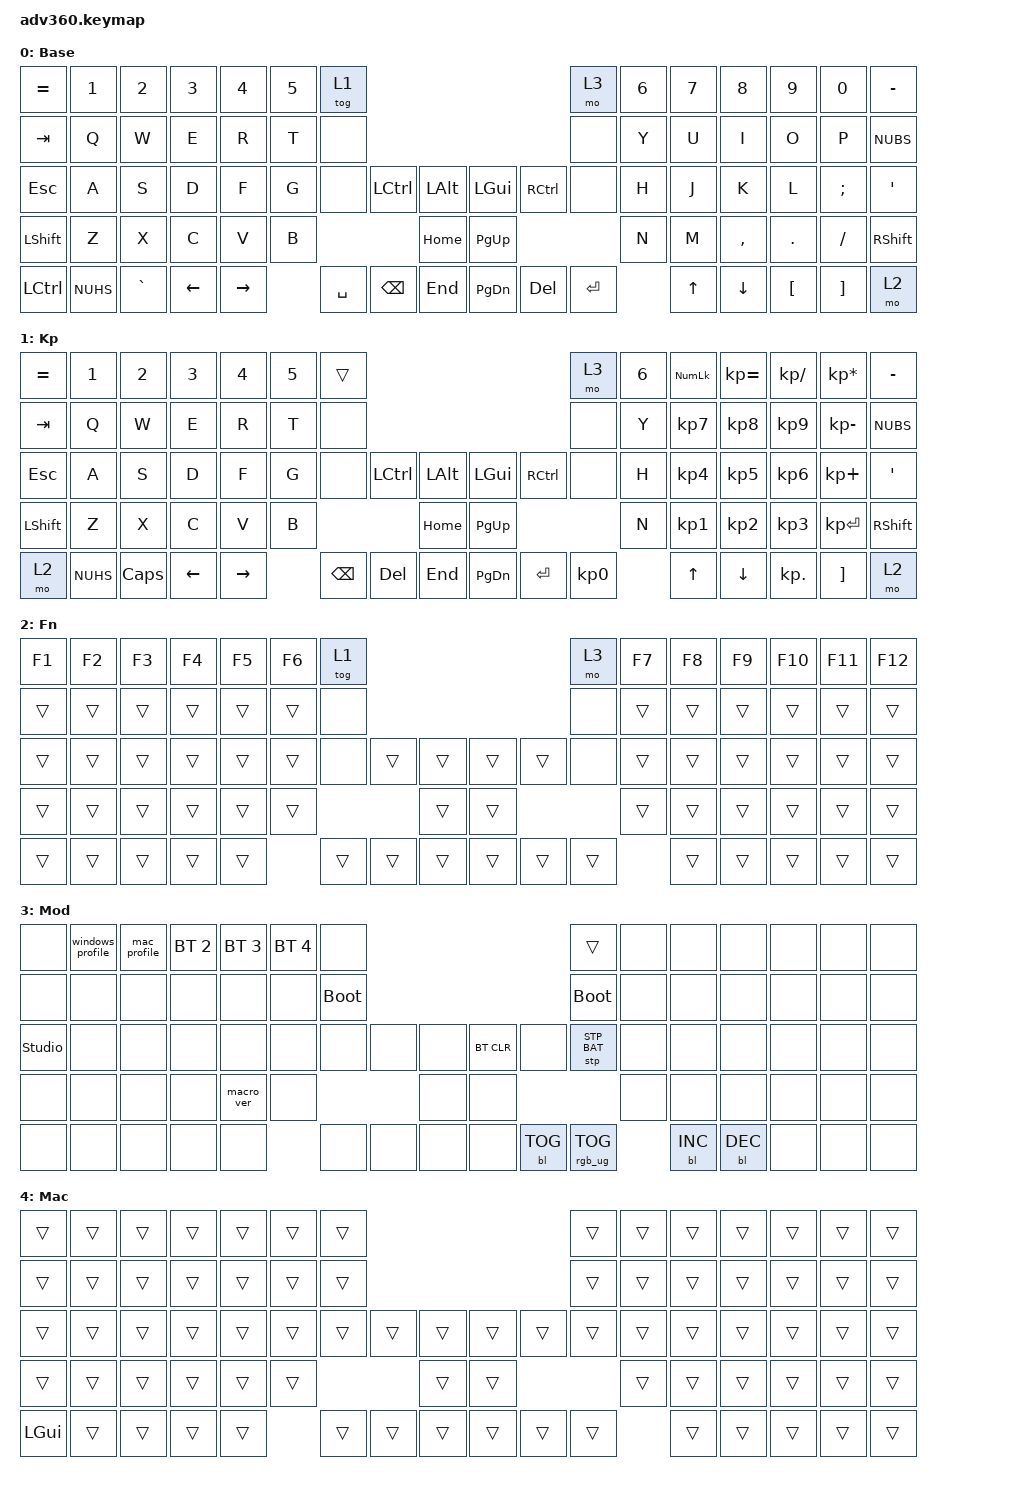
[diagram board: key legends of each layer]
#include <dt-bindings/zmk/stp.h>
#include <behaviors.dtsi>
#include <dt-bindings/zmk/backlight.h>
#include <dt-bindings/zmk/bt.h>
#include <dt-bindings/zmk/keys.h>
#include <dt-bindings/zmk/rgb.h>

/ {
    behaviors {
        #include "macros.dtsi"
      #include "version.dtsi"

        hm: homerow_mods {
            compatible = "zmk,behavior-hold-tap";
            label = "HOMEROW_MODS";
            #binding-cells = <2>;
            tapping-term-ms = <200>;
            quick_tap_ms = <175>;
            flavor = "tap-preferred";
            bindings = <&kp>, <&kp>;
        };

        mac_profile: mac_profile {
            compatible = "zmk,behavior-macro";
            label = "MAC_PROFILE";
            #binding-cells = <0>;
            bindings = <&bt BT_SEL 1>, <&to 4>;
        };

        windows_profile: windows_profile {
            compatible = "zmk,behavior-macro";
            label = "WINDOWS_PROFILE";
            #binding-cells = <0>;
            bindings = <&bt BT_SEL 0>, <&to 0>;
        };
    };

    keymap {
        compatible = "zmk,keymap";

        default_layer {
            display-name = "Base";
            bindings = <
&kp EQUAL         &kp N1    &kp N2     &kp N3    &kp N4     &kp N5  &tog 1                                                         &mo 3      &kp N6  &kp N7  &kp N8     &kp N9    &kp N0    &kp MINUS
&kp TAB           &kp Q     &kp W      &kp E     &kp R      &kp T   &none                                                          &none      &kp Y   &kp U   &kp I      &kp O     &kp P     &kp NUBS
&kp ESC           &kp A     &kp S      &kp D     &kp F      &kp G   &none      &kp LCTRL      &kp LALT      &kp LGUI   &kp RCTRL   &none      &kp H   &kp J   &kp K      &kp L     &kp SEMI  &kp SQT
&kp LSHFT         &kp Z     &kp X      &kp C     &kp V      &kp B                             &kp HOME      &kp PG_UP                         &kp N   &kp M   &kp COMMA  &kp DOT   &kp FSLH  &kp RSHFT
&kp LEFT_CONTROL  &kp NUHS  &kp GRAVE  &kp LEFT  &kp RIGHT          &kp SPACE  &kp BACKSPACE  &kp END       &kp PG_DN  &kp DELETE  &kp ENTER          &kp UP  &kp DOWN   &kp LBKT  &kp RBKT  &mo 2
            >;
        };

        keypad {
            display-name = "Kp";
            bindings = <
&kp EQUAL  &kp N1    &kp N2    &kp N3    &kp N4     &kp N5  &trans                                                   &mo 3      &kp N6  &kp KP_NUM  &kp KP_EQUAL  &kp KP_DIVIDE  &kp KP_MULTIPLY  &kp MINUS
&kp TAB    &kp Q     &kp W     &kp E     &kp R      &kp T   &none                                                    &none      &kp Y   &kp KP_N7   &kp KP_N8     &kp KP_N9      &kp KP_MINUS     &kp NUBS
&kp ESC    &kp A     &kp S     &kp D     &kp F      &kp G   &none     &kp LCTRL  &kp LALT      &kp LGUI   &kp RCTRL  &none      &kp H   &kp KP_N4   &kp KP_N5     &kp KP_N6      &kp KP_PLUS      &kp SQT
&kp LSHFT  &kp Z     &kp X     &kp C     &kp V      &kp B                        &kp HOME      &kp PG_UP                        &kp N   &kp KP_N1   &kp KP_N2     &kp KP_N3      &kp KP_ENTER     &kp RSHFT
&mo 2      &kp NUHS  &kp CAPS  &kp LEFT  &kp RIGHT          &kp BSPC  &kp DEL    &kp END       &kp PG_DN  &kp ENTER  &kp KP_N0          &kp UP      &kp DOWN      &kp KP_DOT     &kp RBKT         &mo 2
            >;
        };

        fn {
            display-name = "Fn";
            bindings = <
&kp F1  &kp F2  &kp F3  &kp F4  &kp F5  &kp F6  &tog 1                                      &mo 3   &kp F7  &kp F8  &kp F9  &kp F10  &kp F11  &kp F12
&trans  &trans  &trans  &trans  &trans  &trans  &none                                       &none   &trans  &trans  &trans  &trans   &trans   &trans
&trans  &trans  &trans  &trans  &trans  &trans  &none   &trans  &trans      &trans  &trans  &none   &trans  &trans  &trans  &trans   &trans   &trans
&trans  &trans  &trans  &trans  &trans  &trans                  &trans      &trans                  &trans  &trans  &trans  &trans   &trans   &trans
&trans  &trans  &trans  &trans  &trans          &trans  &trans  &trans      &trans  &trans  &trans          &trans  &trans  &trans   &trans   &trans
            >;
        };

        mod {
            display-name = "Mod";
            bindings = <
&none           &windows_profile  &mac_profile  &bt BT_SEL 2  &bt BT_SEL 3  &bt BT_SEL 4  &none                                              &trans           &none  &none       &none       &none  &none  &none
&none           &none         &none         &none         &none         &none         &bootloader                                            &bootloader      &none  &none       &none       &none  &none  &none
&studio_unlock  &none         &none         &none         &none         &none         &none        &none  &none      &bt BT_CLR  &none       &stp STP_BAT     &none  &none       &none       &none  &none  &none
&none           &none         &none         &none         &macro_ver    &none                             &none      &none                                    &none  &none       &none       &none  &none  &none
&none           &none         &none         &none         &none                       &none        &none  &none      &none       &bl BL_TOG  &rgb_ug RGB_TOG         &bl BL_INC  &bl BL_DEC  &none  &none  &none
            >;
        };

        mac {
            display-name = "Mac";
            bindings = <
&trans  &trans  &trans  &trans  &trans  &trans  &trans                                      &trans  &trans  &trans  &trans  &trans  &trans  &trans
&trans  &trans  &trans  &trans  &trans  &trans  &trans                                      &trans  &trans  &trans  &trans  &trans  &trans  &trans
&trans  &trans  &trans  &trans  &trans  &trans  &trans  &trans  &trans  &trans  &trans  &trans  &trans  &trans  &trans  &trans  &trans  &trans
&trans  &trans  &trans  &trans  &trans  &trans                  &trans  &trans                  &trans  &trans  &trans  &trans  &trans  &trans
&kp LGUI  &trans  &trans  &trans  &trans          &trans  &trans  &trans  &trans  &trans  &trans          &trans  &trans  &trans  &trans  &trans
            >;
        };

        extra2 {
            display-name = "Purple";
            status = "reserved";
        };

        extra3 {
            display-name = "Cyan";
            status = "reserved";
        };

        extra4 {
            display-name = "Yellow";
            status = "reserved";
        };
    };
};
